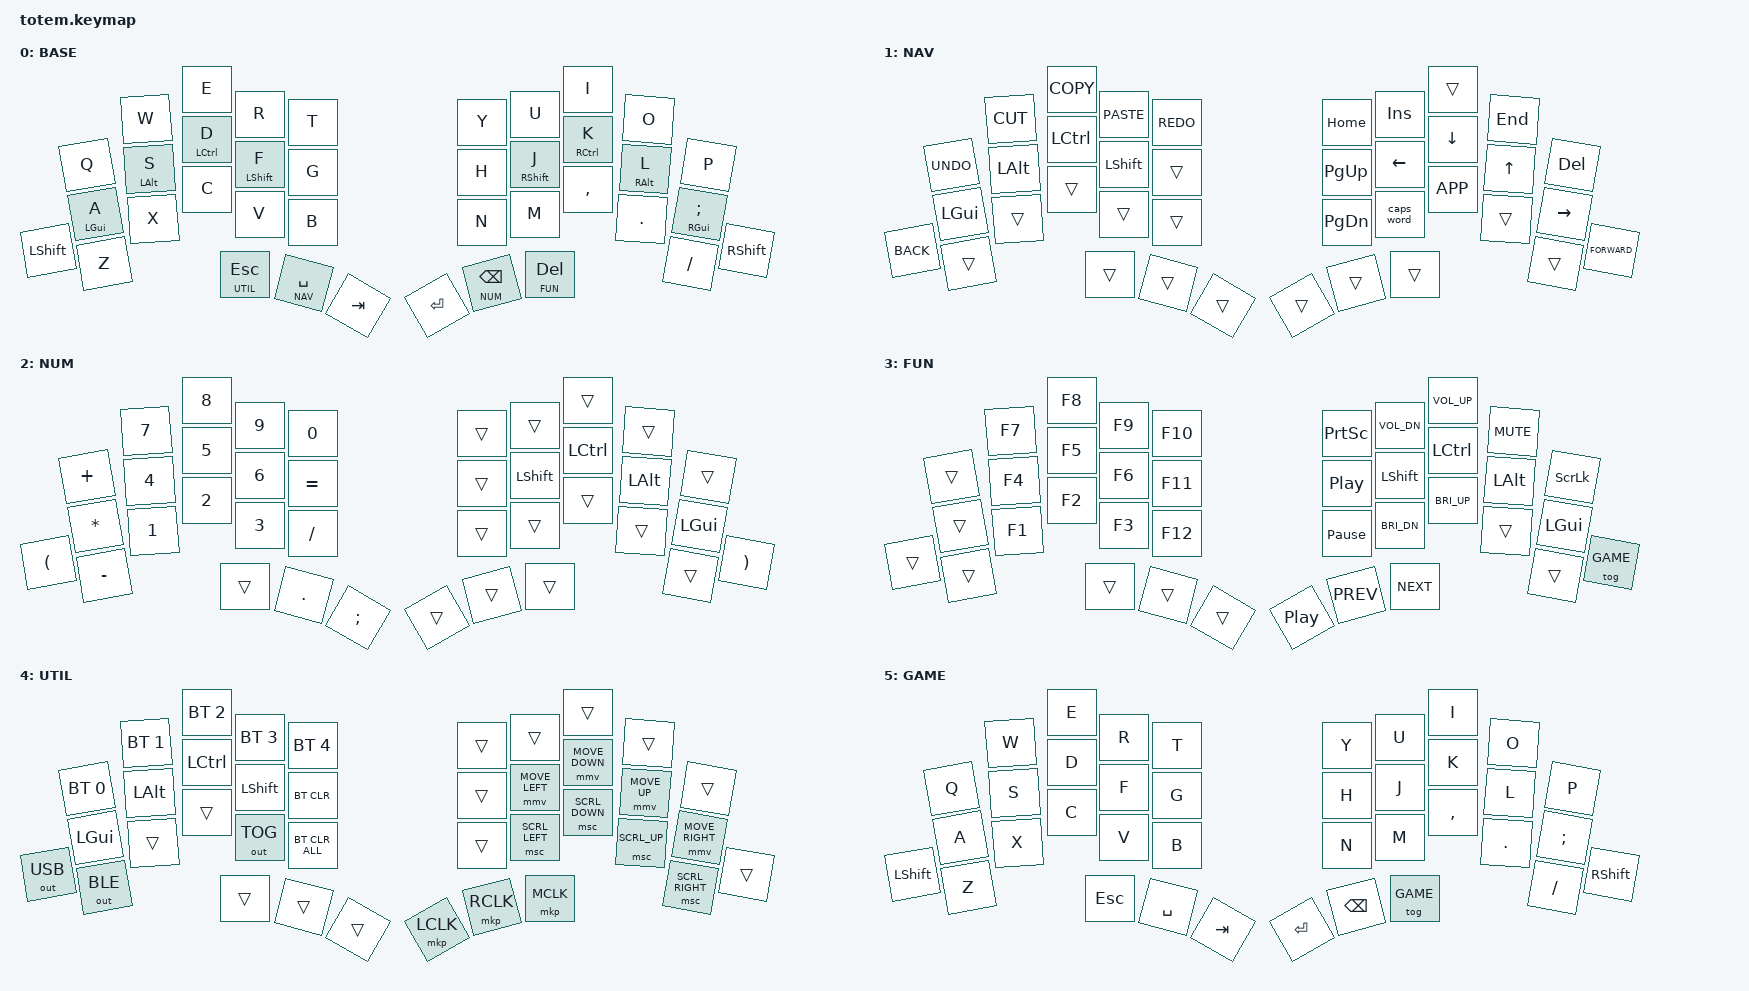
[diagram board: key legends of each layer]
/*
 * TOTEM QWERTY keymap
 *
 * Based on the layer/behavior philosophy of drakeaxelrod/totem,
 * but using standard QWERTY alphas.
 */

#include <behaviors.dtsi>
#include <dt-bindings/zmk/bt.h>
#include <dt-bindings/zmk/keys.h>
#include <dt-bindings/zmk/outputs.h>
#include <dt-bindings/zmk/pointing.h>

/* Layers */
#define BASE 0
#define NAV  1
#define NUM  2
#define FUN  3
#define UTIL 4
#define GAME 5

/*
 * Physical key positions used by positional home-row mods.
 *
 * Totem logical order:
 *
 *   0  1  2  3  4       5  6  7  8  9
 *  10 11 12 13 14      15 16 17 18 19
 * 20 21 22 23 24 25    26 27 28 29 30 31
 *          32 33 34    35 36 37
 */

#define KEYS_L 0 1 2 3 4 10 11 12 13 14 20 21 22 23 24 25
#define KEYS_R 5 6 7 8 9 15 16 17 18 19 26 27 28 29 30 31
#define THUMBS 32 33 34 35 36 37

/ {
    behaviors {
        /*
         * Left home-row mod:
         * hold only resolves easily when another key is pressed
         * on the opposite hand or on the thumbs.
         */
        hml: home_row_mod_left {
            compatible = "zmk,behavior-hold-tap";
            #binding-cells = <2>;

            flavor = "balanced";
            tapping-term-ms = <280>;
            quick-tap-ms = <175>;
            require-prior-idle-ms = <150>;

            bindings = <&kp>, <&kp>;

            hold-trigger-key-positions = <KEYS_R THUMBS>;
            hold-trigger-on-release;
        };

        /* Mirrored version for the right hand. */
        hmr: home_row_mod_right {
            compatible = "zmk,behavior-hold-tap";
            #binding-cells = <2>;

            flavor = "balanced";
            tapping-term-ms = <280>;
            quick-tap-ms = <175>;
            require-prior-idle-ms = <150>;

            bindings = <&kp>, <&kp>;

            hold-trigger-key-positions = <KEYS_L THUMBS>;
            hold-trigger-on-release;
        };

        /*
         * Thumb key:
         * first argument = layer while held
         * second argument = normal key when tapped
         */
        lt_th: layer_tap_thumb {
            compatible = "zmk,behavior-hold-tap";
            #binding-cells = <2>;

            flavor = "hold-preferred";
            tapping-term-ms = <200>;
            quick-tap-ms = <200>;

            bindings = <&mo>, <&kp>;
        };
    };

    keymap {
        compatible = "zmk,keymap";

        /*
         * BASE
         *
         * Q W E R T     Y U I O P
         * A S D F G     H J K L ;
         * Z X C V B     N M , . /
         *
         * Home-row mods:
         * A = GUI/Command
         * S = Alt/Option
         * D = Control
         * F = Shift
         *
         * J = Shift
         * K = Control
         * L = Alt/Option
         * ; = GUI/Command
         */
        base_layer {
            display-name = "BASE";

            bindings = <
                &kp Q          &kp W          &kp E           &kp R           &kp T
                &kp Y          &kp U          &kp I           &kp O           &kp P

                &hml LGUI A    &hml LALT S    &hml LCTRL D    &hml LSHFT F   &kp G
                &kp H          &hmr RSHFT J   &hmr RCTRL K    &hmr RALT L    &hmr RGUI SEMI

                &kp LSHFT      &kp Z          &kp X           &kp C           &kp V
                &kp B          &kp N          &kp M           &kp COMMA       &kp DOT
                &kp FSLH       &kp RSHFT

                &lt_th UTIL ESC
                &lt_th NAV SPACE
                &kp TAB

                &kp RET
                &lt_th NUM BSPC
                &lt_th FUN DEL
            >;
        };

        /*
         * NAV — hold Space
         *
         * Editing/navigation on the right hand.
         * Modifiers remain accessible on the left.
         */
        nav_layer {
            display-name = "NAV";

            bindings = <
                &kp K_UNDO     &kp K_CUT      &kp K_COPY     &kp K_PASTE    &kp K_REDO
                &kp HOME       &kp INS        &trans         &kp END        &kp DEL

                &kp LGUI       &kp LALT       &kp LCTRL      &kp LSHFT     &trans
                &kp PG_UP      &kp LEFT       &kp DOWN       &kp UP        &kp RIGHT

                &kp K_BACK     &trans         &trans         &trans        &trans
                &trans         &kp PG_DN      &caps_word     &kp K_APP     &trans
                &trans         &kp K_FORWARD

                &trans
                &trans
                &trans

                &trans
                &trans
                &trans
            >;
        };

        /*
         * NUM — hold Backspace
         *
         * Numpad-like block on the left.
         */
        num_layer {
            display-name = "NUM";

            bindings = <
                &kp PLUS       &kp N7         &kp N8         &kp N9         &kp N0
                &trans         &trans         &trans         &trans         &trans

                &kp STAR       &kp N4         &kp N5         &kp N6         &kp EQUAL
                &trans         &kp LSHFT      &kp LCTRL      &kp LALT       &kp LGUI

                &kp LPAR       &kp MINUS      &kp N1         &kp N2         &kp N3
                &kp FSLH       &trans         &trans         &trans         &trans
                &trans         &kp RPAR

                &trans
                &kp DOT
                &kp SEMI

                &trans
                &trans
                &trans
            >;
        };

        /*
         * FUN — hold Delete
         *
         * Function/media/brightness layer.
         */
        fun_layer {
            display-name = "FUN";

            bindings = <
                &trans         &kp F7         &kp F8         &kp F9         &kp F10
                &kp PSCRN      &kp C_VOL_DN   &kp C_VOL_UP   &kp C_MUTE     &kp SLCK

                &trans         &kp F4         &kp F5         &kp F6         &kp F11
                &kp C_PP       &kp LSHFT      &kp LCTRL      &kp LALT       &kp LGUI

                &trans         &trans         &kp F1         &kp F2         &kp F3
                &kp F12        &kp PAUSE_BREAK
                &kp C_BRI_DN   &kp C_BRI_UP   &trans
                &trans         &tog GAME

                &trans
                &trans
                &trans

                &kp C_PP
                &kp C_PREV
                &kp C_NEXT
            >;
        };

        /*
         * UTIL — hold Escape
         *
         * Bluetooth, output selection, and mouse.
         */
        util_layer {
            display-name = "UTIL";

            bindings = <
                &bt BT_SEL 0   &bt BT_SEL 1   &bt BT_SEL 2   &bt BT_SEL 3   &bt BT_SEL 4
                &trans         &trans          &trans          &trans          &trans

                &kp LGUI       &kp LALT        &kp LCTRL      &kp LSHFT      &bt BT_CLR
                &trans         &mmv MOVE_LEFT  &mmv MOVE_DOWN &mmv MOVE_UP   &mmv MOVE_RIGHT

                &out OUT_USB   &out OUT_BLE    &trans         &trans         &out OUT_TOG
                &bt BT_CLR_ALL
                &trans         &msc SCRL_LEFT  &msc SCRL_DOWN &msc SCRL_UP
                &msc SCRL_RIGHT
                &trans

                &trans
                &trans
                &trans

                &mkp LCLK
                &mkp RCLK
                &mkp MCLK
            >;
        };

        /*
         * GAME
         *
         * Plain QWERTY with no home-row mods.
         * Toggle this from the FUN layer.
         */
        game_layer {
            display-name = "GAME";

            bindings = <
                &kp Q          &kp W          &kp E          &kp R          &kp T
                &kp Y          &kp U          &kp I          &kp O          &kp P

                &kp A          &kp S          &kp D          &kp F          &kp G
                &kp H          &kp J          &kp K          &kp L          &kp SEMI

                &kp LSHFT      &kp Z          &kp X          &kp C          &kp V
                &kp B          &kp N          &kp M          &kp COMMA      &kp DOT
                &kp FSLH       &kp RSHFT

                &kp ESC
                &kp SPACE
                &kp TAB

                &kp RET
                &kp BSPC
                &tog GAME
            >;
        };
    };
};
